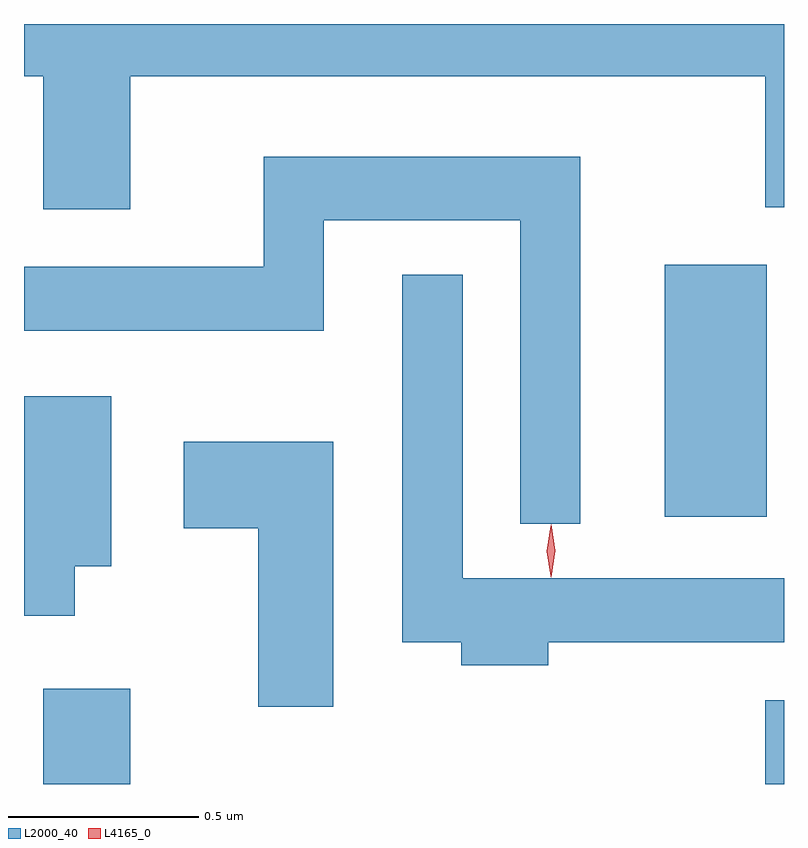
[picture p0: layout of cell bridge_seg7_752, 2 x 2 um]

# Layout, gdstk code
import gdstk
lib = gdstk.Library(unit=1e-6, precision=1e-09)
def R(c, l, rs):  # rectangles x0, y0, x1, y1
    for r in rs: c.add(gdstk.rectangle(r[:2], r[2:], *l))
def P(c, l, *ps):  # polygons
    for p in ps: c.add(gdstk.Polygon(p, *l))
L2000_40 = (2000, 40)
L4165_0 = (4165, 0)

bridge_seg7_752 = lib.new_cell('bridge_seg7_752')
R(bridge_seg7_752, L2000_40, [(606.561,1739.093,606.789,1739.344), (608.461,1739.093,608.51,1739.314), (608.196,1739.796,608.464,1740.459)])
P(bridge_seg7_752, L2000_40, [(606.789,1740.956),(608.461,1740.956),(608.461,1740.611),(608.51,1740.611),(608.51,1741.093),(606.51,1741.093),(606.51,1740.956),(606.561,1740.956),(606.561,1740.606),(606.789,1740.606)],
  [(607.974,1740.744),(607.141,1740.744),(607.141,1740.454),(606.51,1740.454),(606.51,1740.286),(607.299,1740.286),(607.299,1740.576),(607.816,1740.576),(607.816,1739.778),(607.974,1739.778)],
  [(607.889,1739.466),(608.51,1739.466),(608.51,1739.634),(607.664,1739.634),(607.664,1740.433),(607.506,1740.433),(607.506,1739.466),(607.661,1739.466),(607.661,1739.406),(607.889,1739.406)],
  [(606.644,1739.666),(606.739,1739.666),(606.739,1740.114),(606.51,1740.114),(606.51,1739.536),(606.644,1739.536)],
  [(607.324,1739.994),(606.931,1739.994),(606.931,1739.766),(607.126,1739.766),(607.126,1739.296),(607.324,1739.296)])
P(bridge_seg7_752, L4165_0, [(607.897,1739.637),(607.888,1739.707),(607.897,1739.776),(607.898,1739.776),(607.898,1739.776),(607.908,1739.707),(607.898,1739.637),(607.898,1739.637)],
  [(607.896,1739.639),(607.896,1739.64),(607.886,1739.706),(607.896,1739.772),(607.896,1739.773),(607.897,1739.772),(607.906,1739.706),(607.897,1739.64)])

lib.write_gds('bridge_seg7_752.gds')
